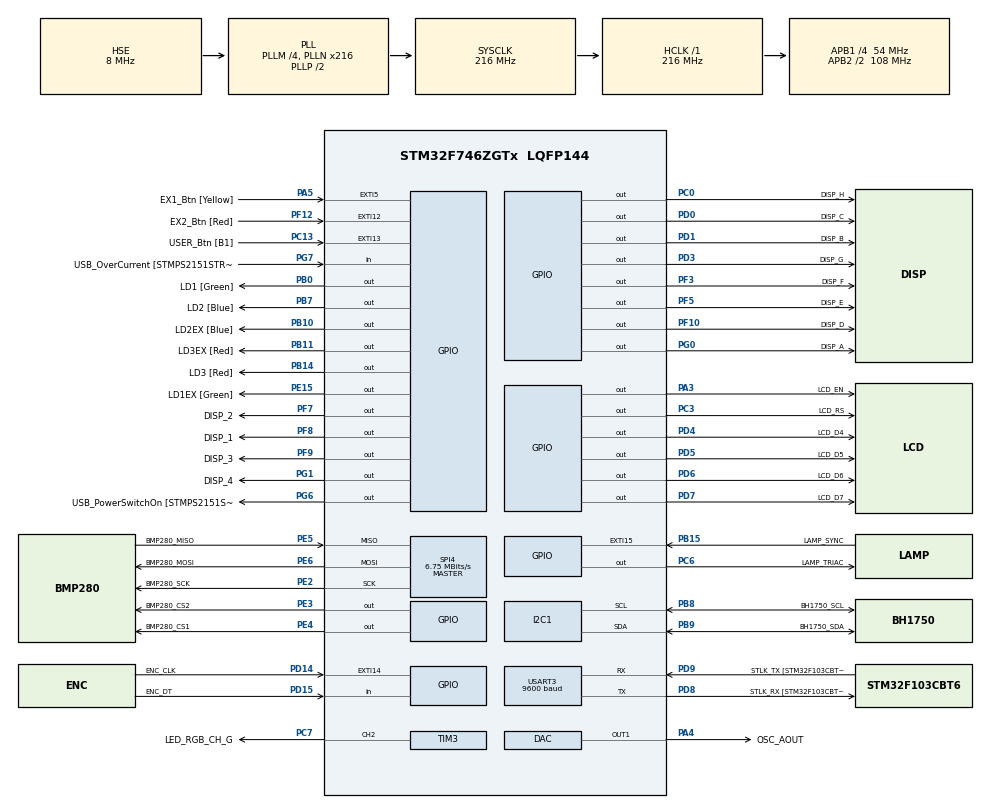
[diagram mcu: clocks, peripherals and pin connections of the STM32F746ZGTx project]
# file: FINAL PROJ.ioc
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ARM.CMSIS.5.7.0.CMSISJjCORE=true
ARM.CMSIS.5.7.0.CMSISJjDSP=Library
DAC.DAC_Trigger=DAC_TRIGGER_NONE
Dma.DAC1.0.Direction=DMA_MEMORY_TO_PERIPH
Dma.DAC1.0.FIFOMode=DMA_FIFOMODE_DISABLE
Dma.DAC1.0.Instance=DMA1_Stream5
Dma.DAC1.0.MemDataAlignment=DMA_MDATAALIGN_HALFWORD
Dma.DAC1.0.MemInc=DMA_MINC_ENABLE
Dma.DAC1.0.Mode=DMA_CIRCULAR
Dma.DAC1.0.PeriphDataAlignment=DMA_PDATAALIGN_HALFWORD
Dma.DAC1.0.PeriphInc=DMA_PINC_DISABLE
Dma.DAC1.0.Priority=DMA_PRIORITY_HIGH
Dma.Request0=DAC1
I2C1.Timing=0x20404768
Mcu.Family=STM32F7
Mcu.Name=STM32F746ZGTx
Mcu.Package=LQFP144
NVIC.DMA1_Stream5_IRQn=true\:0\:0\:false\:false\:true\:false\:true
NVIC.EXTI15_10_IRQn=true\:0\:0\:false\:false\:true\:true\:true
NVIC.EXTI9_5_IRQn=true\:0\:0\:false\:false\:true\:true\:true
NVIC.PriorityGroup=NVIC_PRIORITYGROUP_4
NVIC.TIM2_IRQn=true\:0\:0\:false\:false\:true\:true\:true
NVIC.TIM4_IRQn=true\:0\:0\:false\:false\:true\:true\:true
NVIC.USART3_IRQn=true\:0\:0\:false\:false\:true\:true\:true
PA1.GPIO_Label=RMII_REF_CLK [LAN8742A-CZ-TR_REFCLK0]
PA1.Signal=ETH_REF_CLK
PA10.GPIO_Label=USB_ID
PA10.Signal=USB_OTG_FS_ID
PA11.GPIO_Label=USB_DM
PA11.Signal=USB_OTG_FS_DM
PA12.GPIO_Label=USB_DP
PA12.Signal=USB_OTG_FS_DP
PA13.GPIO_Label=TMS
PA13.Mode=Serial_Wire
PA13.Signal=SYS_JTMS-SWDIO
PA14.GPIO_Label=TCK
PA14.Mode=Serial_Wire
PA14.Signal=SYS_JTCK-SWCLK
PA2.GPIO_Label=RMII_MDIO [LAN8742A-CZ-TR_MDIO]
PA2.Signal=ETH_MDIO
PA3.GPIO_Label=LCD_EN
PA3.Signal=GPIO_Output
PA4.GPIO_Label=OSC_AOUT
PA4.Signal=COMP_DAC1_group
PA5.GPIO_Label=EX1_Btn [Yellow]
PA5.GPIO_ModeDefaultEXTI=GPIO_MODE_IT_FALLING
PA5.Signal=GPXTI5
PA8.GPIO_Label=USB_SOF [TP1]
PA8.Signal=USB_OTG_FS_SOF
PA9.GPIO_Label=USB_VBUS
PA9.Signal=USB_OTG_FS_VBUS
PB0.GPIO_Label=LD1 [Green]
PB0.Signal=GPIO_Output
PB1.GPIO_Label=TM3_PWM_CH4
PB1.Signal=S_TIM3_CH4
PB10.GPIO_Label=LD2EX [Blue]
PB10.Signal=GPIO_Output
PB11.GPIO_Label=LD3EX [Red]
PB11.Signal=GPIO_Output
PB13.GPIO_Label=RMII_TXD1 [LAN8742A-CZ-TR_TXD1]
PB13.Signal=ETH_TXD1
PB14.GPIO_Label=LD3 [Red]
PB14.Signal=GPIO_Output
PB15.GPIO_Label=LAMP_SYNC
PB15.Signal=GPXTI15
PB3.GPIO_Label=SW0
PB3.Signal=SYS_JTDO-SWO
PB4.Signal=S_TIM3_CH1
PB7.GPIO_Label=LD2 [Blue]
PB7.Signal=GPIO_Output
PB8.GPIO_Label=BH1750_SCL
PB8.Mode=I2C
PB8.Signal=I2C1_SCL
PB9.GPIO_Label=BH1750_SDA
PB9.Mode=I2C
PB9.Signal=I2C1_SDA
PC0.GPIO_Label=DISP_H
PC0.GPIO_ModeDefaultOutputPP=GPIO_MODE_OUTPUT_OD
PC0.GPIO_PuPd=GPIO_PULLUP
PC0.Signal=GPIO_Output
PC1.GPIO_Label=RMII_MDC [LAN8742A-CZ-TR_MDC]
PC1.Signal=ETH_MDC
PC13.GPIO_Label=USER_Btn [B1]
PC13.Signal=GPXTI13
PC14/OSC32_IN.Mode=LSE-External-Oscillator
PC14/OSC32_IN.Signal=RCC_OSC32_IN
PC15/OSC32_OUT.Mode=LSE-External-Oscillator
PC15/OSC32_OUT.Signal=RCC_OSC32_OUT
PC2.GPIO_Label=POT1_AIN
PC2.Signal=ADCx_IN12
PC3.GPIO_Label=LCD_RS
PC3.Signal=GPIO_Output
PC4.GPIO_Label=RMII_RXD0 [LAN8742A-CZ-TR_RXD0]
PC4.Signal=ETH_RXD0
PC5.GPIO_Label=RMII_RXD1 [LAN8742A-CZ-TR_RXD1]
PC5.Signal=ETH_RXD1
PC6.GPIO_Label=LAMP_TRIAC
PC6.GPIO_Speed=GPIO_SPEED_FREQ_HIGH
PC6.Signal=GPIO_Output
PC7.GPIO_Label=LED_RGB_CH_G
PC7.Signal=S_TIM3_CH2
PC8.GPIO_Label=LED_RGB_CH_B
PC8.Signal=S_TIM3_CH3
PD0.GPIO_Label=DISP_C
PD0.GPIO_ModeDefaultOutputPP=GPIO_MODE_OUTPUT_OD
PD0.GPIO_PuPd=GPIO_PULLUP
PD0.Signal=GPIO_Output
PD1.GPIO_Label=DISP_B
PD1.GPIO_ModeDefaultOutputPP=GPIO_MODE_OUTPUT_OD
PD1.GPIO_PuPd=GPIO_PULLUP
PD1.Signal=GPIO_Output
PD12.GPIO_Label=ENC_TIM_DT
PD12.Signal=S_TIM4_CH1
PD13.GPIO_Label=ENC_TIM_CLK
PD13.Signal=S_TIM4_CH2
PD14.GPIO_Label=ENC_CLK
PD14.GPIO_ModeDefaultEXTI=GPIO_MODE_IT_FALLING
PD14.Signal=GPXTI14
PD15.GPIO_Label=ENC_DT
PD15.Signal=GPIO_Input
PD3.GPIO_Label=DISP_G
PD3.GPIO_ModeDefaultOutputPP=GPIO_MODE_OUTPUT_OD
PD3.GPIO_PuPd=GPIO_PULLUP
PD3.Signal=GPIO_Output
PD4.GPIO_Label=LCD_D4
PD4.Signal=GPIO_Output
PD5.GPIO_Label=LCD_D5
PD5.Signal=GPIO_Output
PD6.GPIO_Label=LCD_D6
PD6.Signal=GPIO_Output
PD7.GPIO_Label=LCD_D7
PD7.Signal=GPIO_Output
PD8.GPIO_Label=STLK_RX [STM32F103CBT6_PA3]
PD8.Mode=Asynchronous
PD8.Signal=USART3_TX
PD9.GPIO_Label=STLK_TX [STM32F103CBT6_PA2]
PD9.Mode=Asynchronous
PD9.Signal=USART3_RX
PE15.GPIO_Label=LD1EX [Green]
PE15.Signal=GPIO_Output
PE2.GPIO_Label=BMP280_SCK
PE2.Mode=Full_Duplex_Master
PE2.Signal=SPI4_SCK
PE3.GPIO_Label=BMP280_CS2
PE3.GPIO_Speed=GPIO_SPEED_FREQ_VERY_HIGH
PE3.PinState=GPIO_PIN_SET
PE3.Signal=GPIO_Output
PE4.GPIO_Label=BMP280_CS1
PE4.GPIO_Speed=GPIO_SPEED_FREQ_VERY_HIGH
PE4.PinState=GPIO_PIN_SET
PE4.Signal=GPIO_Output
PE5.GPIO_Label=BMP280_MISO
PE5.Mode=Full_Duplex_Master
PE5.Signal=SPI4_MISO
PE6.GPIO_Label=BMP280_MOSI
PE6.Mode=Full_Duplex_Master
PE6.Signal=SPI4_MOSI
PF10.GPIO_Label=DISP_D
PF10.GPIO_ModeDefaultOutputPP=GPIO_MODE_OUTPUT_OD
PF10.GPIO_PuPd=GPIO_PULLUP
PF10.Signal=GPIO_Output
PF12.GPIO_Label=EX2_Btn [Red]
PF12.Signal=GPXTI12
PF3.GPIO_Label=DISP_F
PF3.GPIO_ModeDefaultOutputPP=GPIO_MODE_OUTPUT_OD
PF3.GPIO_PuPd=GPIO_PULLUP
PF3.Signal=GPIO_Output
PF5.GPIO_Label=DISP_E
PF5.GPIO_ModeDefaultOutputPP=GPIO_MODE_OUTPUT_OD
PF5.GPIO_PuPd=GPIO_PULLUP
PF5.Signal=GPIO_Output
PF7.GPIO_Label=DISP_2
PF7.Signal=GPIO_Output
PF8.GPIO_Label=DISP_1
PF8.Signal=GPIO_Output
PF9.GPIO_Label=DISP_3
PF9.Signal=GPIO_Output
PG0.GPIO_Label=DISP_A
PG0.GPIO_ModeDefaultOutputPP=GPIO_MODE_OUTPUT_OD
PG0.GPIO_PuPd=GPIO_PULLUP
PG0.Signal=GPIO_Output
PG1.GPIO_Label=DISP_4
PG1.Signal=GPIO_Output
PG11.GPIO_Label=RMII_TX_EN [LAN8742A-CZ-TR_TXEN]
PG11.Signal=ETH_TX_EN
PG13.GPIO_Label=RMII_TXD0 [LAN8742A-CZ-TR_TXD0]
PG13.Signal=ETH_TXD0
PG6.GPIO_Label=USB_PowerSwitchOn [STMPS2151STR_EN]
PG6.Signal=GPIO_Output
PG7.GPIO_Label=USB_OverCurrent [STMPS2151STR_FAULT]
PG7.Signal=GPIO_Input
PH0/OSC_IN.GPIO_Label=MCO [STM32F103CBT6_PA8]
PH0/OSC_IN.Mode=HSE-External-Clock-Source
PH0/OSC_IN.Signal=RCC_OSC_IN
PH1/OSC_OUT.Mode=HSE-External-Clock-Source
PH1/OSC_OUT.Signal=RCC_OSC_OUT
ProjectManager.HeapSize=0x200
ProjectManager.StackSize=0x400
ProjectManager.TargetToolchain=STM32CubeIDE
RCC.48MHZClocksFreq_Value=24000000
RCC.AHBFreq_Value=216000000
RCC.APB1CLKDivider=RCC_HCLK_DIV4
RCC.APB1Freq_Value=54000000
RCC.APB1TimFreq_Value=108000000
RCC.APB2CLKDivider=RCC_HCLK_DIV2
RCC.APB2Freq_Value=108000000
RCC.APB2TimFreq_Value=216000000
RCC.CortexFreq_Value=216000000
RCC.HCLKFreq_Value=216000000
RCC.HSE_VALUE=8000000
RCC.HSI_VALUE=16000000
RCC.PLLM=4
RCC.PLLMUL=RCC_PLL_MUL9
RCC.PLLN=216
RCC.PLLQ=3
RCC.PLLSourceVirtual=RCC_PLLSOURCE_HSE
RCC.PRESCALERUSB=RCC_USBCLKSOURCE_PLL_DIV1_5
RCC.SYSCLKFreq_VALUE=216000000
RCC.SYSCLKSource=RCC_SYSCLKSOURCE_PLLCLK
RCC.SYSCLKSourceVirtual=RCC_SYSCLKSOURCE_PLLCLK
RCC.USBFreq_Value=144000000
RCC.VCOOutputFreq_Value=432000000
SH.ADCx_IN12.0=ADC1_IN12
SH.COMP_DAC1_group.0=DAC_OUT1,DAC_OUT1
SH.S_TIM3_CH1.0=TIM3_CH1
SH.S_TIM3_CH2.0=TIM3_CH2,PWM Generation2 CH2
SH.S_TIM3_CH3.0=TIM3_CH3
SH.S_TIM3_CH4.0=TIM3_CH4
SH.S_TIM4_CH1.0=TIM4_CH1
SH.S_TIM4_CH2.0=TIM4_CH2
SPI4.BaudRatePrescaler=SPI_BAUDRATEPRESCALER_16
SPI4.CLKPhase=SPI_PHASE_2EDGE
SPI4.CLKPolarity=SPI_POLARITY_HIGH
SPI4.CalculateBaudRate=6.75 MBits/s
SPI4.DataSize=SPI_DATASIZE_8BIT
SPI4.Direction=SPI_DIRECTION_2LINES
SPI4.Mode=SPI_MODE_MASTER
SPI4.VirtualType=VM_MASTER
TIM2.Period=4999
TIM2.Prescaler=107
TIM3.Channel-PWM\ Generation2\ CH2=TIM_CHANNEL_2
TIM3.Period=999
TIM3.Prescaler=0
TIM4.Period=9999
TIM4.Prescaler=719
TIM6.Period=999
TIM6.Prescaler=107
TIM6.TIM_MasterOutputTrigger=TIM_TRGO_UPDATE
USART3.BaudRate=9600
USART3.VirtualMode-Asynchronous=VM_ASYNC
VP_ARM.CMSIS_VS_CMSISJjCORE_5.4.0_5.7.0.Mode=CMSISJjCORE
VP_ARM.CMSIS_VS_CMSISJjDSP_1.8.0_5.7.0.Mode=CMSISJjDSP
VP_TIM2_VS_ClockSourceINT.Mode=Internal
VP_TIM2_VS_OPM.Mode=OPM_bit
VP_TIM3_VS_ClockSourceINT.Mode=Internal
VP_TIM4_VS_ClockSourceINT.Mode=Internal
VP_TIM6_VS_ClockSourceINT.Mode=Enable_Timer
board=NUCLEO-F746ZG

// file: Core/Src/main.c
/* USER CODE BEGIN Header */
/**
  ******************************************************************************
  * @file           : main.c
  * @brief          : Main program body
  ******************************************************************************
  * @attention
  *
  * <h2><center>&copy; Copyright (c) 2020 STMicroelectronics.
  * All rights reserved.</center></h2>
  *
  * This software component is licensed by ST under BSD 3-Clause license,
  * the "License"; You may not use this file except in compliance with the
  * License. You may obtain a copy of the License at:
  *                        opensource.org/licenses/BSD-3-Clause
  *
  ******************************************************************************
  */
/* USER CODE END Header */
#include "main.h"
#include "dac.h"
#include "dma.h"
#include "i2c.h"
#include "spi.h"
#include "tim.h"
#include "usart.h"
#include "gpio.h"

/* USER CODE BEGIN Includes */
#include "measurement.h"
#include "controller.h"
#include "pwm.h"
#include "communication.h"
#include "arm_math.h"
/* USER CODE END Includes */

/* USER CODE BEGIN PV */
	int reference; //reference value
	uint8_t data[4];//input data buffer, 4 digits,
	float duty_cycle;//PID controller feedback error and PWM duty cycle, same value
	float measurement;//BH1750 measurement value

	int swv;//for SWV plotting, for converting
	float percentage=0; //SWV in percentage

	arm_pid_instance_f32 PID;//declaration of PID controller

	int counter=0;//app usage, not quite working

/* USER CODE END PV */

void SystemClock_Config(void);

int main(void)
{

  /* MCU Configuration--------------------------------------------------------*/

  /* Reset of all peripherals, Initializes the Flash interface and the Systick. */
  HAL_Init();

  /* Configure the system clock */
  SystemClock_Config();

  /* Initialize all configured peripherals */
  MX_GPIO_Init();
  MX_DMA_Init();
  MX_USART3_UART_Init();
  MX_TIM2_Init();
  MX_TIM3_Init();
  MX_TIM4_Init();
  MX_I2C1_Init();
  MX_SPI4_Init();
  MX_DAC_Init();
  MX_TIM6_Init();
  /* USER CODE BEGIN 2 */

  Serial_Init();  //Initialize USART/
  BH1750_Init(); //Initialize sensor BH1750
  PID_Init(); 	// Initialize PID controller
  PWM_Init();  // Initialize PWM
  HAL_TIM_Base_Start_IT(&htim4);  //Start timer for control loop period 100ms
  /* USER CODE END 2 */

  /* Infinite loop */
  while (1)
  {
  }
}

void SystemClock_Config(void)
{
  RCC_OscInitTypeDef RCC_OscInitStruct = {0};
  RCC_ClkInitTypeDef RCC_ClkInitStruct = {0};
  RCC_PeriphCLKInitTypeDef PeriphClkInitStruct = {0};

  /** Configure LSE Drive Capability
  */
  HAL_PWR_EnableBkUpAccess();
  /** Configure the main internal regulator output voltage
  */
  __HAL_RCC_PWR_CLK_ENABLE();
  __HAL_PWR_VOLTAGESCALING_CONFIG(PWR_REGULATOR_VOLTAGE_SCALE1);
  /** Initializes the RCC Oscillators according to the specified parameters
  * in the RCC_OscInitTypeDef structure.
  */
  RCC_OscInitStruct.OscillatorType = RCC_OSCILLATORTYPE_HSE;
  RCC_OscInitStruct.HSEState = RCC_HSE_BYPASS;
  RCC_OscInitStruct.PLL.PLLState = RCC_PLL_ON;
  RCC_OscInitStruct.PLL.PLLSource = RCC_PLLSOURCE_HSE;
  RCC_OscInitStruct.PLL.PLLM = 4;
  RCC_OscInitStruct.PLL.PLLN = 216;
  RCC_OscInitStruct.PLL.PLLP = RCC_PLLP_DIV2;
  RCC_OscInitStruct.PLL.PLLQ = 3;
  if (HAL_RCC_OscConfig(&RCC_OscInitStruct) != HAL_OK)
  {
    Error_Handler();
  }
  /** Activate the Over-Drive mode
  */
  if (HAL_PWREx_EnableOverDrive() != HAL_OK)
  {
    Error_Handler();
  }
  /** Initializes the CPU, AHB and APB buses clocks
  */
  RCC_ClkInitStruct.ClockType = RCC_CLOCKTYPE_HCLK|RCC_CLOCKTYPE_SYSCLK
                              |RCC_CLOCKTYPE_PCLK1|RCC_CLOCKTYPE_PCLK2;
  RCC_ClkInitStruct.SYSCLKSource = RCC_SYSCLKSOURCE_PLLCLK;
  RCC_ClkInitStruct.AHBCLKDivider = RCC_SYSCLK_DIV1;
  RCC_ClkInitStruct.APB1CLKDivider = RCC_HCLK_DIV4;
  RCC_ClkInitStruct.APB2CLKDivider = RCC_HCLK_DIV2;

  if (HAL_RCC_ClockConfig(&RCC_ClkInitStruct, FLASH_LATENCY_7) != HAL_OK)
  {
    Error_Handler();
  }
  PeriphClkInitStruct.PeriphClockSelection = RCC_PERIPHCLK_USART3|RCC_PERIPHCLK_I2C1;
  PeriphClkInitStruct.Usart3ClockSelection = RCC_USART3CLKSOURCE_PCLK1;
  PeriphClkInitStruct.I2c1ClockSelection = RCC_I2C1CLKSOURCE_PCLK1;
  if (HAL_RCCEx_PeriphCLKConfig(&PeriphClkInitStruct) != HAL_OK)
  {
    Error_Handler();
  }
}

/* USER CODE BEGIN 4 */

void HAL_TIM_PeriodElapsedCallback(TIM_HandleTypeDef *htim)
{
	if(htim->Instance == TIM4)
	{
		measurement = BH1750_Read();		//Getting measurement from sensor BH1750
		swv = (int)measurement;		// Converting measured value from float to integer for SWV plotting
		duty_cycle = PID_GetDutyCycle(measurement, reference);		// Getting error/duty from PID controller
		PWM_SetDutyCycle(duty_cycle);	// Setting duty_cycle of PWM
		//percentage = duty_cycle/800;
		//Giving value to application////
		//if(counter == 25)
		//{
			app_conmunication(swv);
			//counter = 0;
		//}
		//counter++;
		////////////////////////////////
	}
}
/* USER CODE END 4 */

void Error_Handler(void)
{
}

/************************ (C) COPYRIGHT STMicroelectronics *****END OF FILE****/
